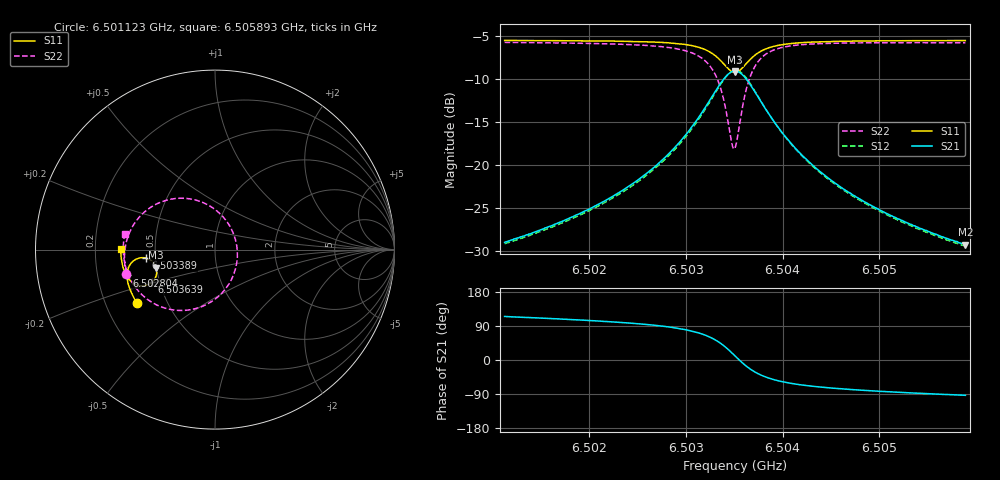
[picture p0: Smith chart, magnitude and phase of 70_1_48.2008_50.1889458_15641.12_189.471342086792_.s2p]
#  HZ  S  RI  R  50.00
! Rohde & Schwarz Vector Network Analyzer
! Rohde-Schwarz,ZNB20-2Port,1311601062101988,3.16
! Created: UTC 3/20/2024, 11:39:08 AM
! freq[Hz]  re:S11  im:S11  re:S21  im:S21  re:S12  im:S12  re:S22  im:S22
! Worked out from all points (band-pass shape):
!   401 points, 6.501123 GHz to 6.505893 GHz, reference 50 ohm
!   highest |S21| = -9.13 dB at 6.503508 GHz (marker M1); lowest = -29.3 dB at 6.505893 GHz (marker M2)
!   |S21| within 3 dB of the highest: 6.503269 GHz to 6.503746 GHz (477.1 kHz wide, 0.00734 % of centre)
!   lowest |S11| = -9.3 dB at 6.503508 GHz (marker M3), VSWR 2.05, Z = 24.9 - j5.71 ohm
!   |S11| at or under -10 dB: nowhere
!   |S22| runs from -18.2 to -5.8 dB; largest |S21 - S12| = 0.012
!   S11 on the Smith chart (normalised r, x): 6.501123 GHz: 0.34, -0.28; 6.502804 GHz: 0.33, -0.13; 6.503389 GHz: 0.44, -0.05; 6.503639 GHz: 0.45, -0.20; 6.505893 GHz: 0.31, +0.01
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6.5011233e9  -0.434 -0.2978  -0.0149 0.032  -0.0131 0.0321  -0.4944 -0.1373
6.5019221e9  -0.4674 -0.2373  -0.0139 0.0508  -0.0114 0.0501  -0.5045 -0.0491
6.5023633e9  -0.4822 -0.1969  -0.0105 0.0712  -0.00742 0.0699  -0.4993 0.0169
6.502721e9  -0.4897 -0.1554  -0.000707 0.1021  0.00311 0.0995  -0.4773 0.0931
6.5028044e9  -0.4902 -0.1438  0.0043 0.1129  0.00804 0.1099  -0.4662 0.1164
6.5030071e9  -0.4852 -0.1098  0.0277 0.1485  0.0314 0.1438  -0.4172 0.1858
6.5031502e9  -0.4704 -0.0796  0.0666 0.1828  0.0694 0.1767  -0.3418 0.2456
6.5032933e9  -0.431 -0.0499  0.1512 0.2119  0.1518 0.2056  -0.1874 0.2863
6.503341e9  -0.4091 -0.0451  0.1952 0.2101  0.1951 0.2044  -0.1103 0.2767
6.5033887e9  -0.3829 -0.0476  0.2456 0.194  0.2456 0.1893  -0.024 0.2401
6.5034721e9  -0.3389 -0.0783  0.3256 0.1164  0.3282 0.112  0.1039 0.0864
6.5035079e9  -0.3279 -0.1013  0.3434 0.0659  0.3473 0.0601  0.1243 -0.00885
6.5035317e9  -0.3249 -0.1182  0.3466 0.0301  0.3509 0.0231  0.1211 -0.0744
6.5035675e9  -0.3273 -0.1431  0.3384 -0.0215  0.3422 -0.0307  0.092 -0.1659
6.503639e9  -0.3503 -0.1812  0.2898 -0.0997  0.2896 -0.1117  -0.0231 -0.2921
6.5037344e9  -0.3924 -0.2014  0.209 -0.1436  0.2038 -0.1543  -0.188 -0.3392
6.5038894e9  -0.4428 -0.1941  0.1183 -0.1426  0.1109 -0.1482  -0.3525 -0.2932
6.5040564e9  -0.4725 -0.173  0.0692 -0.1208  0.0625 -0.1233  -0.4324 -0.2239
6.5043067e9  -0.4953 -0.1417  0.0355 -0.0932  0.0304 -0.0937  -0.481 -0.1443
6.5046883e9  -0.5118 -0.1007  0.0148 -0.0673  0.0115 -0.0667  -0.505 -0.0639
6.5051056e9  -0.5207 -0.0614  0.00557 -0.0507  0.00305 -0.0502  -0.5108 -0.00204
6.5058925e9  -0.5261 0.00609  -0.00189 -0.0342  -0.00334 -0.0334  -0.5037 0.0844
